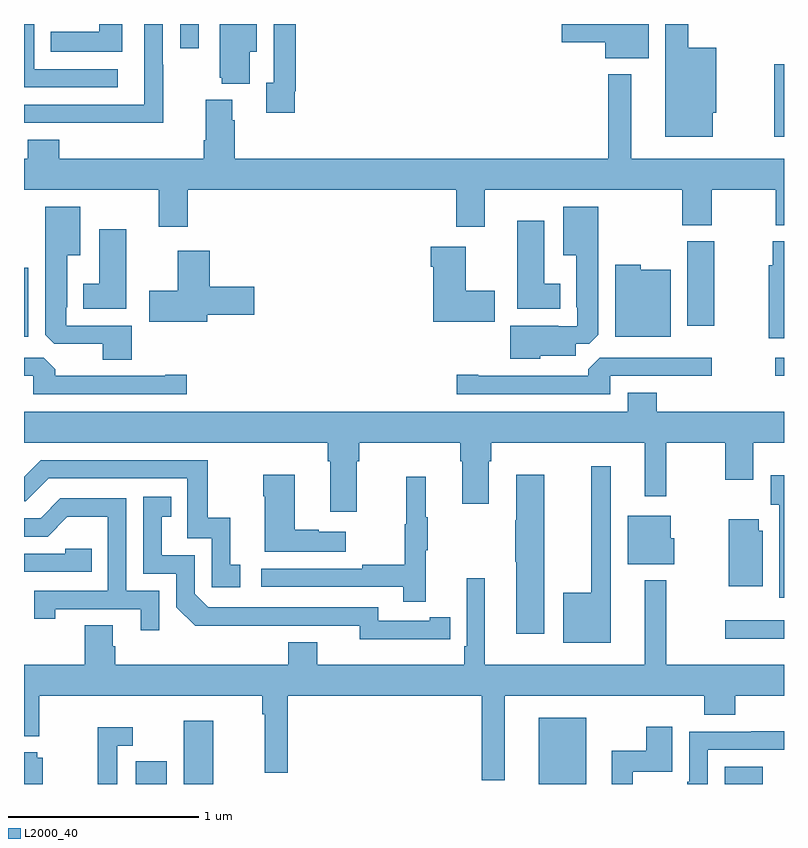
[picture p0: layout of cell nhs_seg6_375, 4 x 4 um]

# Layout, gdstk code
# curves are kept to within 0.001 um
import gdstk
lib = gdstk.Library(unit=1e-6, precision=1e-09)
def R(c, l, rs):  # rectangles x0, y0, x1, y1
    for r in rs: c.add(gdstk.rectangle(r[:2], r[2:], *l))
def P(c, l, *ps):  # polygons
    for p in ps: c.add(gdstk.Polygon(p, *l))
L2000_40 = (2000, 40)

nhs_seg6_375 = lib.new_cell('nhs_seg6_375')
R(nhs_seg6_375, L2000_40, [(131.588,985.5,131.752,985.621), (131.84,985.5,131.995,985.834), (133.709,985.5,133.96,985.849), (134.687,985.5,134.887,985.591), (134.691,986.264,135,986.361), (134.955,987.648,135,987.744), (131,987.854,131.023,988.216), (134.492,987.912,134.634,988.356), (134.948,988.907,135,989.287), (131.823,989.373,131.919,989.5)])
P(nhs_seg6_375, L2000_40, [(132.424,989.146),(132.431,989.146),(132.431,989.5),(132.315,989.5),(132.315,989.19),(132.275,989.19),(132.275,989.034),(132.424,989.034)],
  [(132.187,989.354),(132.226,989.354),(132.226,989.5),(132.029,989.5),(132.029,989.217),(132.041,989.217),(132.041,989.186),(132.187,989.186)],
  [(131.733,989.285),(131.73,989.285),(131.73,989.5),(131.634,989.5),(131.634,989.076),(131,989.076),(131,988.98),(131.269,988.98),(131.269,988.979),(131.733,988.979)],
  [(134.287,989.5),(133.83,989.5),(133.83,989.405),(134.06,989.405),(134.06,989.321),(134.287,989.321)],
  [(131.518,989.5),(131.397,989.5),(131.397,989.458),(131.14,989.458),(131.14,989.354),(131.518,989.354)],
  [(134.626,989.034),(134.644,989.034),(134.644,989.374),(134.497,989.374),(134.497,989.5),(134.375,989.5),(134.375,988.907),(134.626,988.907)],
  [(131.494,989.262),(131.055,989.262),(131.055,989.5),(131,989.5),(131,989.166),(131.494,989.166)],
  [(134.197,989.236),(134.076,989.236),(134.076,988.792),(132.11,988.792),(132.11,988.994),(132.097,988.994),(132.097,989.101),(131.957,989.101),(131.957,988.888),(131.945,988.888),(131.945,988.792),(131.186,988.792),(131.186,988.891),(131.021,988.891),(131.021,988.792),(131,988.792),(131,988.628),(131.708,988.628),(131.708,988.434),(131.861,988.434),(131.861,988.628),(133.274,988.628),(133.274,988.434),(133.426,988.434),(133.426,988.628),(134.464,988.628),(134.464,988.441),(134.619,988.441),(134.619,988.628),(134.956,988.628),(134.956,988.441),(135,988.441),(135,988.792),(134.197,988.792)],
  [(133.716,987.755),(133.903,987.755),(133.903,987.816),(133.974,987.816),(134.023,987.865),(134.023,988.537),(133.838,988.537),(133.838,988.283),(133.907,988.283),(133.907,988.009),(133.911,988.009),(133.911,987.909),(133.811,987.909),(133.811,987.913),(133.559,987.913),(133.559,987.737),(133.716,987.737)],
  [(131.567,987.912),(131.223,987.912),(131.223,988.009),(131.227,988.009),(131.227,988.283),(131.296,988.283),(131.296,988.537),(131.111,988.537),(131.111,987.865),(131.16,987.816),(131.414,987.816),(131.414,987.733),(131.567,987.733)],
  [(133.822,988.132),(133.738,988.132),(133.738,988.465),(133.595,988.465),(133.595,988.001),(133.822,988.001)],
  [(131.539,988.42),(131.396,988.42),(131.396,988.132),(131.312,988.132),(131.312,988.001),(131.539,988.001)],
  [(135,988.356),(134.941,988.356),(134.941,988.23),(134.92,988.23),(134.92,987.846),(135,987.846)],
  [(133.477,988.095),(133.324,988.095),(133.324,988.327),(133.142,988.327),(133.142,988.223),(133.154,988.223),(133.154,987.932),(133.477,987.932)],
  [(131.965,987.971),(132.211,987.971),(132.211,988.118),(131.978,988.118),(131.978,988.306),(131.81,988.306),(131.81,988.095),(131.658,988.095),(131.658,987.932),(131.965,987.932)],
  [(134.404,988.207),(134.247,988.207),(134.247,988.234),(134.111,988.234),(134.111,987.854),(134.404,987.854)],
  [(134.085,987.648),(134.62,987.648),(134.62,987.744),(134.031,987.744),(134.005,987.718),(133.97,987.682),(133.97,987.648),(133.39,987.648),(133.39,987.653),(133.278,987.653),(133.278,987.552),(134.085,987.552)],
  [(131.857,987.653),(131.744,987.653),(131.744,987.648),(131.165,987.648),(131.165,987.682),(131.103,987.744),(131,987.744),(131,987.648),(131.049,987.648),(131.049,987.552),(131.857,987.552)],
  [(132.751,987.2),(132.764,987.2),(132.764,987.296),(133.295,987.296),(133.295,987.2),(133.307,987.2),(133.307,986.976),(133.447,986.976),(133.447,987.2),(133.46,987.2),(133.46,987.296),(134.267,987.296),(134.267,987.015),(134.381,987.015),(134.381,987.296),(134.692,987.296),(134.692,987.102),(134.839,987.102),(134.839,987.296),(135,987.296),(135,987.46),(134.33,987.46),(134.33,987.559),(134.177,987.559),(134.177,987.46),(131,987.46),(131,987.296),(132.599,987.296),(132.599,987.2),(132.611,987.2),(132.611,986.934),(132.751,986.934)],
  [(132.139,986.655),(132.086,986.655),(132.086,986.902),(131.968,986.902),(131.968,987.204),(131.088,987.204),(131,987.116),(131,986.988),(131.01,986.988),(131.13,987.108),(131.859,987.108),(131.859,986.793),(131.988,986.793),(131.988,986.535),(132.139,986.535)],
  [(134.089,987.172),(133.985,987.172),(133.985,986.506),(133.838,986.506),(133.838,986.243),(134.089,986.243)],
  [(133.738,987.127),(133.592,987.127),(133.592,986.888),(133.585,986.888),(133.585,986.671),(133.592,986.671),(133.592,986.292),(133.738,986.292)],
  [(132.694,986.827),(132.551,986.827),(132.551,986.837),(132.424,986.837),(132.424,987.127),(132.259,987.127),(132.259,987.014),(132.266,987.014),(132.266,986.723),(132.694,986.723)],
  [(135,987.124),(134.93,987.124),(134.93,986.97),(134.975,986.97),(134.975,986.481),(135,986.481)],
  [(133.115,986.731),(133.126,986.731),(133.126,986.905),(133.115,986.905),(133.115,987.118),(133.012,987.118),(133.012,986.868),(133.005,986.868),(133.005,986.654),(132.781,986.654),(132.781,986.634),(132.249,986.634),(132.249,986.538),(132.997,986.538),(132.997,986.46),(133.115,986.46)],
  [(133.136,986.262),(133.244,986.262),(133.244,986.378),(133.136,986.378),(133.136,986.358),(132.864,986.358),(132.864,986.43),(131.97,986.43),(131.898,986.502),(131.898,986.703),(131.725,986.703),(131.725,986.907),(131.774,986.907),(131.774,987.013),(131.628,987.013),(131.628,986.607),(131.802,986.607),(131.802,986.43),(131.9,986.333),(132.768,986.334),(132.768,986.261)],
  [(131.712,986.517),(131.538,986.517),(131.538,987.003),(131.192,987.003),(131.087,986.898),(131,986.898),(131,986.802),(131.124,986.802),(131.228,986.906),(131.442,986.906),(131.442,986.517),(131.053,986.517),(131.053,986.37),(131.164,986.37),(131.164,986.421),(131.615,986.421),(131.615,986.31),(131.712,986.31)],
  [(134.422,986.793),(134.404,986.793),(134.404,986.911),(134.177,986.911),(134.177,986.657),(134.422,986.657)],
  [(134.887,986.832),(134.866,986.832),(134.866,986.893),(134.708,986.893),(134.708,986.54),(134.887,986.54)],
  [(131.357,986.739),(131.217,986.739),(131.217,986.712),(131,986.712),(131,986.616),(131.357,986.616)],
  [(134.267,986.572),(134.267,986.128),(133.426,986.128),(133.426,986.584),(133.329,986.584),(133.329,986.224),(133.316,986.224),(133.316,986.128),(132.544,986.128),(132.544,986.245),(132.392,986.245),(132.392,986.128),(131.48,986.128),(131.48,986.226),(131.467,986.226),(131.467,986.336),(131.32,986.336),(131.32,986.128),(131,986.128),(131,985.751),(131.079,985.751),(131.079,985.964),(132.253,985.964),(132.253,985.868),(132.268,985.868),(132.268,985.56),(132.389,985.56),(132.389,985.964),(133.41,985.964),(133.41,985.52),(133.531,985.52),(133.531,985.964),(134.579,985.964),(134.579,985.865),(134.744,985.865),(134.744,985.964),(135,985.964),(135,986.128),(134.381,986.128),(134.381,986.572)],
  [(134.203,985.565),(134.413,985.565),(134.413,985.801),(134.275,985.801),(134.275,985.675),(134.093,985.675),(134.093,985.5),(134.203,985.5)],
  [(131.49,985.701),(131.572,985.701),(131.572,985.798),(131.389,985.798),(131.389,985.5),(131.49,985.5)],
  [(134.598,985.68),(135,985.68),(135,985.778),(134.827,985.778),(134.827,985.776),(134.502,985.776),(134.502,985.513),(134.49,985.513),(134.49,985.5),(134.598,985.5)],
  [(131.098,985.638),(131.07,985.638),(131.07,985.666),(131,985.666),(131,985.5),(131.098,985.5)])

lib.write_gds('nhs_seg6_375.gds')
